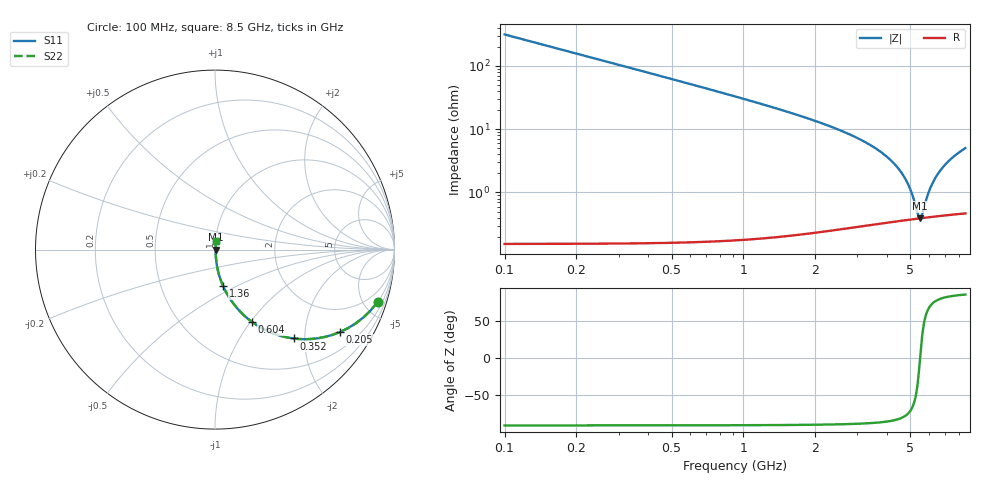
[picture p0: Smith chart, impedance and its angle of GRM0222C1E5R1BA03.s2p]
!Murata Part Number: GRM0222C1E5R1BA03
!These Parameters are Measured in Series Mode Connection
!Data Generated on Mar 30, 2021
!  o--ll--o
!Port1  Port2
!  o------o
!Operation Temp=25[degC], DC Bias Voltage=0[V]
!Freq. Start=100[MHz] Stop=9[GHz] 401[Steps]
# Hz S RI R 50
!Freq.(Hz) S11(Real) S11(Imag) S21(Real) S21(Imag) S12(Real) S12(Imag) S22(Real) S22(Imag)
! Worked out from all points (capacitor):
!   401 points, 100 MHz to 8.5 GHz, reference 50 ohm
!   read as one part in series: C = 5.1 pF near 142 MHz
!   lowest |Z| = 391 mohm at 5.497 GHz (marker M1)
!   series resonance near 5.492 GHz, so ESL is about 160 pH
!   S11 on the Smith chart (normalised r, x): 100 MHz: 1.00, -6.24; 205 MHz: 1.00, -3.04; 352 MHz: 1.00, -1.77; 604 MHz: 1.00, -1.02; 1.36 GHz: 1.00, -0.43; 8.5 GHz: 1.01, +0.10
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1e8  0.9067 -0.2906  0.0933 0.2906  0.0933 0.2906  0.9067 -0.2906
2.05e8  0.6977 -0.4587  0.3023 0.4587  0.3023 0.4587  0.6977 -0.4587
3.52e8  0.438 -0.4953  0.562 0.4953  0.562 0.4953  0.438 -0.4953
4.78e8  0.2959 -0.4552  0.7041 0.4552  0.7041 0.4552  0.2959 -0.4552
6.04e8  0.2072 -0.4037  0.7928 0.4037  0.7928 0.4037  0.2072 -0.4037
8.98e8  0.1036 -0.3022  0.8964 0.3022  0.8964 0.3022  0.1036 -0.3022
1.36e9  0.0458 -0.2045  0.9542 0.2045  0.9542 0.2045  0.0458 -0.2045
1.507e9  0.0369 -0.1834  0.9631 0.1834  0.9631 0.1834  0.0369 -0.1834
2.914e9  0.00853 -0.0753  0.9915 0.0753  0.9915 0.0753  0.00853 -0.0753
3.733e9  0.00515 -0.044  0.9949 0.044  0.9949 0.044  0.00515 -0.044
4.3e9  0.0042 -0.0275  0.9958 0.0275  0.9958 0.0275  0.0042 -0.0275
4.888e9  0.00384 -0.0129  0.9962 0.0129  0.9962 0.0129  0.00384 -0.0129
5.119e9  0.00382 -0.0078  0.9962 0.0078  0.9962 0.0078  0.00382 -0.0078
5.392e9  0.00386 -0.00203  0.9961 0.00203  0.9961 0.00203  0.00386 -0.00203
5.497e9  0.00389 0.000107  0.9961 -0.000107  0.9961 -0.000107  0.00389 0.000107
5.581e9  0.00392 0.00178  0.9961 -0.00178  0.9961 -0.00178  0.00392 0.00178
5.707e9  0.00398 0.00425  0.996 -0.00425  0.996 -0.00425  0.00398 0.00425
5.959e9  0.00412 0.00904  0.9959 -0.00904  0.9959 -0.00904  0.00412 0.00904
6.253e9  0.00433 0.0144  0.9957 -0.0144  0.9957 -0.0144  0.00433 0.0144
6.631e9  0.00467 0.0209  0.9953 -0.0209  0.9953 -0.0209  0.00467 0.0209
7.114e9  0.00519 0.0288  0.9948 -0.0288  0.9948 -0.0288  0.00519 0.0288
8.5e9  0.0071 0.0494  0.9929 -0.0494  0.9929 -0.0494  0.0071 0.0494
